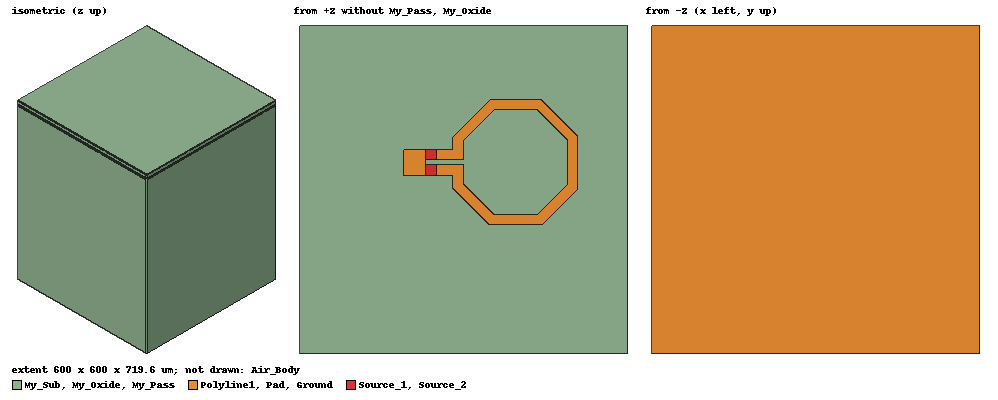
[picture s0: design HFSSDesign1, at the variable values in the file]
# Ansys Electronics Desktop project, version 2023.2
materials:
  vacuum: permittivity=1
  copper: permeability=0.999991 conductivity=58000000
  silicon: permittivity=11.9
  silicon_dioxide: permittivity=4
  My_Pass: permittivity=7.9

design HFSSDesign1 (HFSS, HFSS Terminal Network, model units um)
options: Save_Adaptive_support_files
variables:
  w = 19um
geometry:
  Polyline1 [copper] = polyline(z=701.65um, xy in um: (-200, 14.35) (-160, 14.35) (-160, 43.45) (-98.5, 104.95) (-11.6, 104.95) (49.9, 43.45) (49.9, -43.45) (-11.6, -104.95) (-98.5, -104.95) (-160, -43.45) (-160, -14.55) (-200, -14.55), section rectangle width=w height=3.3um)
  Source_1 = rectangle(corner=(-200um, 23.85um, 701.65um), x_size=-19um, y_size=-19um)
  Source_2 = rectangle(corner=(-200um, -5.05um, 701.65um), x_size=-19um, y_size=-19um)
  Pad [copper] = box(corner=(-219um, 23.85um, 700um), size=(-40um, -47.7um, 3.3um))
  My_Sub [silicon] = box(corner=(150um, 250um, 0um), size=(-600um, -600um, 700um))
  My_Oxide [silicon_dioxide] = box(corner=(150um, 250um, 704.95um), size=(-600um, -600um, 14um))
  My_Pass [My_Pass] = box(corner=(150um, 250um, 718.95um), size=(-600um, -600um, 0.7um))
  Air_Body [vacuum] = box(corner=(150um, 250um, 0um), size=(-600um, -600um, 1400um))
  Ground = rectangle(corner=(150um, 250um, 0um), x_size=-600um, y_size=-600um)
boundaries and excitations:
  Rad1: Radiation Objects=Air_Body
  PerfE1: Perfect E Objects=Ground
  Source_1_T1: Terminal port=1 Edges=Source_1.edge(at (-200, 14.35, 701.65)) TerminalResistance=50ohm
  Source_2_T1: Terminal port=2 Edges=Source_2.edge(at (-200, -14.55, 701.65)) TerminalResistance=50ohm
  1: Lumped Port Faces=Source_1.face LumpedPortType=Terminal Impedance=50ohm
  2: Lumped Port Faces=Source_2.face LumpedPortType=Terminal Impedance=50ohm
  reference conductors: Pad
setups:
  Setup1: HfssDriven Frequency=12GHz MaxDeltaS=0.01 MaximumPasses=20 MinimumPasses=1 MinimumConvergedPasses=1 PercentRefinement=30 BasisOrder=-1 PortAccuracy=2 DrivenSolverType="Direct Solver"
    sweep Sweep: 0.1GHz to 200GHz step 0.1GHz; Type=Interpolating InterpTolerance=0.3 InterpMaxSolns=250 PassivityErrorTolerance=0.0001
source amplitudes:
  1:1: 1V 0deg
  2:1: 0V 0deg
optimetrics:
  ParametricSetup1: Parametric Sim._Setups=[Setup1]
    sweep w: LIN 9um 29um 4um
